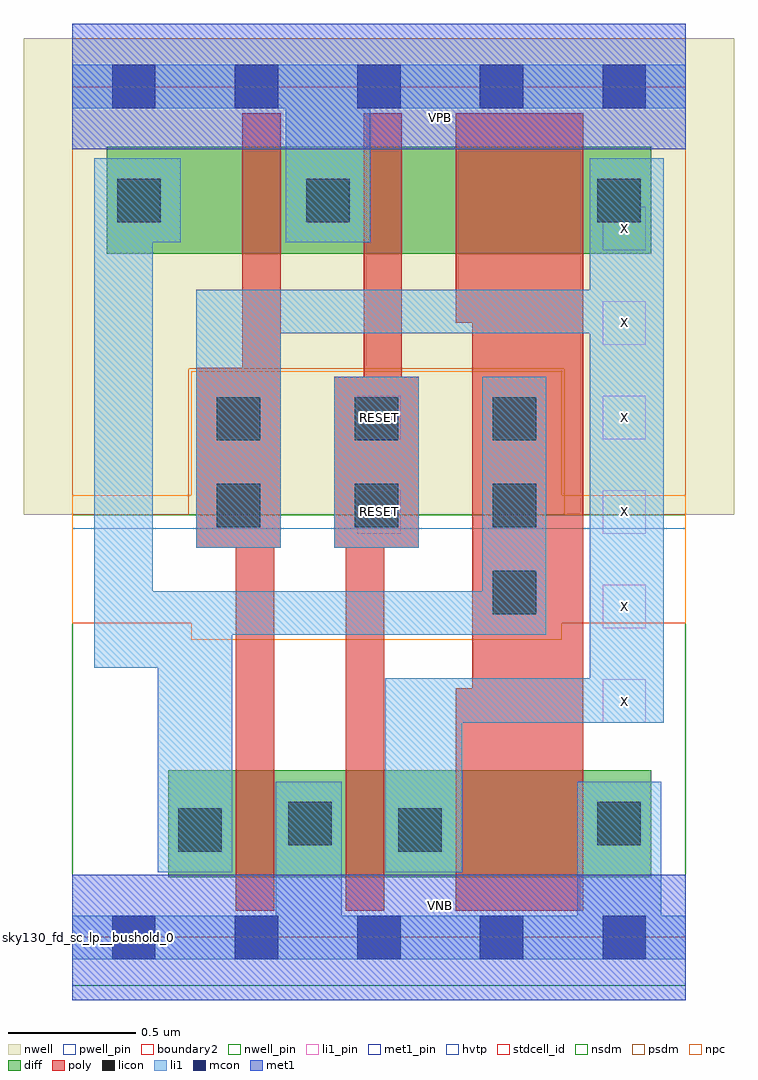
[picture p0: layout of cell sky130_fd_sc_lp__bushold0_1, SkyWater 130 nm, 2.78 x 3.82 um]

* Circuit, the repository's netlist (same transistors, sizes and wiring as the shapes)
* Copyright 2020 The SkyWater PDK Authors
*
* Licensed under the Apache License, Version 2.0 (the "License");
* you may not use this file except in compliance with the License.
* You may obtain a copy of the License at
*
*     https://www.apache.org/licenses/LICENSE-2.0
*
* Unless required by applicable law or agreed to in writing, software
* distributed under the License is distributed on an "AS IS" BASIS,
* WITHOUT WARRANTIES OR CONDITIONS OF ANY KIND, either express or implied.
* See the License for the specific language governing permissions and
* limitations under the License.
*
* SPDX-License-Identifier: Apache-2.0

.SUBCKT sky130_fd_sc_lp__bushold0_1 RESET VGND VNB VPB VPWR X
*.PININFO RESET:I VGND:I VNB:I VPB:I VPWR:I X:B
MMIN1 Ab X VGND VNB sky130_fd_pr__nfet_01v8 m=1 w=0.42U l=0.15U mult=1 sa=0.265
+ sb=0.265 sd=0.28 area=0.063 perim=1.14
MMIN2 X Ab VGND VNB sky130_fd_pr__nfet_01v8 m=1 w=0.42U l=0.5U mult=1 sa=0.265
+ sb=0.265 sd=0.28 area=0.063 perim=1.14
MI9 X RESET VGND VNB sky130_fd_pr__nfet_01v8 m=1 w=0.42U l=0.15U mult=1 sa=0.265
+ sb=0.265 sd=0.28 area=0.063 perim=1.14
MMIP1 Ab X VPWR VPB sky130_fd_pr__pfet_01v8_hvt m=1 w=0.42U l=0.15U mult=1 sa=0.265
+ sb=0.265 sd=0.28 area=0.063 perim=1.14
MMIP2 X Ab net038 VPB sky130_fd_pr__pfet_01v8_hvt m=1 w=0.42U l=0.5U mult=1 sa=0.265
+ sb=0.265 sd=0.28 area=0.063 perim=1.14
MI8 net038 RESET VPWR VPB sky130_fd_pr__pfet_01v8_hvt m=1 w=0.42U l=0.15U mult=1
+ sa=0.265 sb=0.265 sd=0.28 area=0.063 perim=1.14
.ENDS sky130_fd_sc_lp__bushold0_1

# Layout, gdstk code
import gdstk
lib = gdstk.Library(unit=1e-6, precision=1e-09)
def R(c, l, rs):  # rectangles x0, y0, x1, y1
    for r in rs: c.add(gdstk.rectangle(r[:2], r[2:], *l))
def A(c, l, x, y, w, h, nx, ny, dx, dy):  # array of equal rectangles
    R(c, l, [(x+i*dx, y+j*dy, x+i*dx+w, y+j*dy+h) for i in range(nx) for j in range(ny)])
def P(c, l, *ps):  # polygons
    for p in ps: c.add(gdstk.Polygon(p, *l))
nwell_pin = (64, 16)
nwell = (64, 20)
diff = (65, 20)
poly = (66, 20)
licon = (66, 44)
li1_pin = (67, 16)
li1 = (67, 20)
mcon = (67, 44)
met1_pin = (68, 16)
met1 = (68, 20)
hvtp = (78, 44)
stdcell_id = (81, 4)
nsdm = (93, 44)
psdm = (94, 20)
npc = (95, 20)
pwell_pin = (122, 16)
boundary2 = (236, 0)

sky130_fd_sc_lp__bushold = lib.new_cell('sky130_fd_sc_lp__bushold0_1')
R(sky130_fd_sc_lp__bushold, nwell_pin, [(0,3.085,2.4,3.33)])
R(sky130_fd_sc_lp__bushold, nwell, [(-0.19,1.655,2.59,3.52)])
R(sky130_fd_sc_lp__bushold, diff, [(0.375,0.235,2.265,0.655), (0.135,2.675,2.265,3.095)])
P(sky130_fd_sc_lp__bushold, poly, [(1.355,2.195),(1.29,2.195),(1.29,3.225),(1.14,3.225),(1.14,2.195),(1.025,2.195),(1.025,1.525),(1.07,1.525),(1.07,0.105),(1.22,0.105),(1.22,1.525),(1.355,1.525)],
  [(0.815,3.225),(0.665,3.225),(0.665,2.23),(0.485,2.23),(0.485,1.525),(0.64,1.525),(0.64,0.105),(0.79,0.105),(0.79,1.525),(0.815,1.525)],
  [(2,3.225),(1.5,3.225),(1.5,2.405),(1.565,2.405),(1.565,0.975),(1.5,0.975),(1.5,0.105),(2,0.105)])
A(sky130_fd_sc_lp__bushold, licon, 0.565, 1.605, 0.17, 0.17, 3, 2, 0.54, 0.34)
R(sky130_fd_sc_lp__bushold, licon, [(0.415,0.335,0.585,0.505), (1.275,0.335,1.445,0.505), (0.845,0.36,1.015,0.53), (2.055,0.36,2.225,0.53), (1.645,1.265,1.815,1.435), (0.175,2.8,0.345,2.97), (0.915,2.8,1.085,2.97), (2.055,2.8,2.225,2.97)])
A(sky130_fd_sc_lp__bushold, li1_pin, 2.075, 0.84, 0.17, 0.17, 1, 6, 0, 0.37)
R(sky130_fd_sc_lp__bushold, li1_pin, [(1.115,1.58,1.285,1.75), (1.115,1.95,1.285,2.12)])
R(sky130_fd_sc_lp__bushold, li1, [(1.025,1.525,1.355,2.195)])
P(sky130_fd_sc_lp__bushold, li1, [(1.855,2.195),(1.605,2.195),(1.605,1.355),(0.315,1.355),(0.315,2.72),(0.425,2.72),(0.425,3.05),(0.085,3.05),(0.085,1.055),(0.335,1.055),(0.335,0.255),(0.625,0.255),(0.625,1.185),(1.855,1.185)],
  [(2.4,0.085),(2.305,0.085),(2.305,0.61),(1.975,0.61),(1.975,0.085),(1.055,0.085),(1.055,0.61),(0.795,0.61),(0.795,0.085),(0,0.085),(0,-0.085),(2.4,-0.085)],
  [(2.315,3.05),(2.025,3.05),(2.025,2.535),(0.485,2.535),(0.485,1.525),(0.815,1.525),(0.815,2.365),(2.025,2.365),(2.025,1.015),(1.225,1.015),(1.225,0.255),(1.525,0.255),(1.525,0.84),(2.315,0.84)],
  [(2.4,3.415),(0,3.415),(0,3.245),(0.835,3.245),(0.835,2.72),(1.165,2.72),(1.165,3.245),(2.4,3.245)])
A(sky130_fd_sc_lp__bushold, mcon, 0.155, -0.085, 0.17, 0.17, 5, 2, 0.48, 3.33)
R(sky130_fd_sc_lp__bushold, met1_pin, [(0,0,2.4,0.245), (0,3.085,2.4,3.33)])
R(sky130_fd_sc_lp__bushold, met1, [(0,-0.245,2.4,0.245), (0,3.085,2.4,3.575)])
R(sky130_fd_sc_lp__bushold, hvtp, [(0,1.6,2.4,3.33)])
R(sky130_fd_sc_lp__bushold, stdcell_id, [(0,0,2.4,3.33)])
R(sky130_fd_sc_lp__bushold, nsdm, [(0,-0.19,2.4,1.655)])
P(sky130_fd_sc_lp__bushold, psdm, [(2.4,3.52),(0,3.52),(0,1.655),(0.455,1.655),(0.455,2.225),(1.925,2.225),(1.925,1.655),(2.4,1.655)])
P(sky130_fd_sc_lp__bushold, npc, [(2.4,1.73),(1.915,1.73),(1.915,2.215),(0.465,2.215),(0.465,1.73),(0,1.73),(0,1.23),(0.465,1.23),(0.465,1.165),(1.915,1.165),(1.915,1.23),(2.4,1.23)])
R(sky130_fd_sc_lp__bushold, pwell_pin, [(0,0,2.4,0.245)])
R(sky130_fd_sc_lp__bushold, boundary2, [(0,0,2.4,3.33)])
sky130_fd_sc_lp__bushold.add(gdstk.Label('VNB', (1.44,0.123), layer=64, texttype=59))
sky130_fd_sc_lp__bushold.add(gdstk.Label('VPB', (1.44,3.208), layer=64, texttype=5))
sky130_fd_sc_lp__bushold.add(gdstk.Label('sky130_fd_sc_lp__bushold_0', (0,0), layer=83, texttype=44))
sky130_fd_sc_lp__bushold.add(gdstk.Label('VPWR', (1.44,3.208), layer=68, texttype=5))
sky130_fd_sc_lp__bushold.add(gdstk.Label('VGND', (1.44,0.123), layer=68, texttype=5))
sky130_fd_sc_lp__bushold.add(gdstk.Label('X', (2.16,0.925), layer=67, texttype=5))
sky130_fd_sc_lp__bushold.add(gdstk.Label('X', (2.16,1.295), layer=67, texttype=5))
sky130_fd_sc_lp__bushold.add(gdstk.Label('X', (2.16,1.665), layer=67, texttype=5))
sky130_fd_sc_lp__bushold.add(gdstk.Label('X', (2.16,2.035), layer=67, texttype=5))
sky130_fd_sc_lp__bushold.add(gdstk.Label('X', (2.16,2.405), layer=67, texttype=5))
sky130_fd_sc_lp__bushold.add(gdstk.Label('X', (2.16,2.775), layer=67, texttype=5))
sky130_fd_sc_lp__bushold.add(gdstk.Label('RESET', (1.2,1.665), layer=67, texttype=5))
sky130_fd_sc_lp__bushold.add(gdstk.Label('RESET', (1.2,2.035), layer=67, texttype=5))

lib.write_gds('sky130_fd_sc_lp__bushold0_1.gds')
